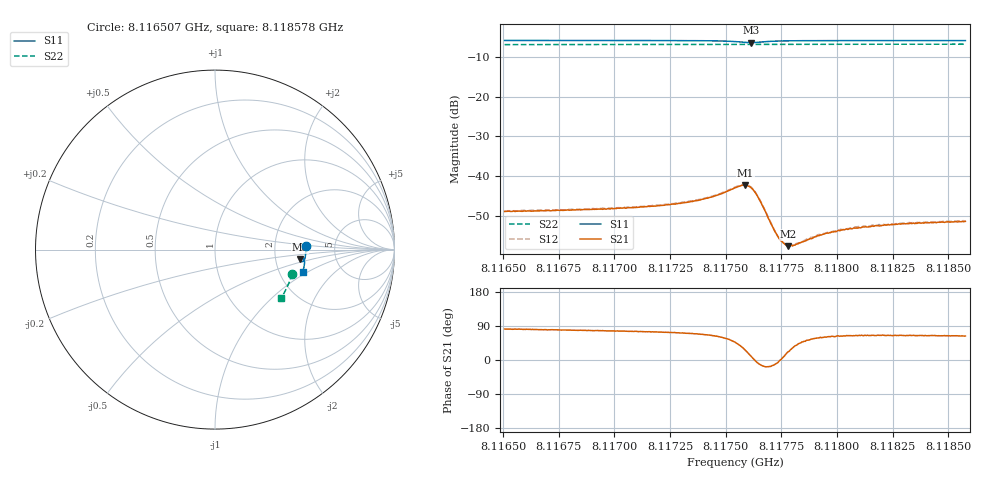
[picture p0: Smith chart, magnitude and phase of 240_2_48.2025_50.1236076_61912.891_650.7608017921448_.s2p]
#  HZ  S  RI  R  50.00
! Rohde & Schwarz Vector Network Analyzer
! Rohde-Schwarz,ZNB20-2Port,1311601062101988,3.16
! Created: UTC 3/20/2024, 11:46:49 AM
! freq[Hz]  re:S11  im:S11  re:S21  im:S21  re:S12  im:S12  re:S22  im:S22
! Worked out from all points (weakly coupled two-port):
!   401 points, 8.116507 GHz to 8.118578 GHz, reference 50 ohm
!   highest |S21| = -42.25 dB at 8.117589 GHz (marker M1); lowest = -57.6 dB at 8.11778 GHz (marker M2)
!   lowest |S11| = -6.4 dB at 8.117615 GHz (marker M3), VSWR 2.82, Z = 138 - j19.5 ohm
!   |S11| at or under -10 dB: nowhere
!   |S22| runs from -6.9 to -6.8 dB; largest |S21 - S12| = 0.0002
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8.1165067e9  0.5064 0.0205  0.000518 0.00357  0.000559 0.00361  0.4285 -0.1361
8.1168536e9  0.5064 -0.00598  0.000774 0.00371  0.000829 0.00375  0.4215 -0.1593
8.1172004e9  0.5042 -0.0337  0.00118 0.0041  0.00122 0.00415  0.4132 -0.182
8.1173817e9  0.5009 -0.0501  0.00185 0.00466  0.00194 0.00474  0.4083 -0.194
8.1174645e9  0.4968 -0.0589  0.00272 0.00513  0.00282 0.0052  0.4058 -0.1992
8.1175421e9  0.4865 -0.0666  0.00489 0.00525  0.005 0.0053  0.4031 -0.2041
8.1175887e9  0.4753 -0.0629  0.00695 0.00335  0.00714 0.00331  0.4014 -0.2064
8.1176146e9  0.473 -0.0549  0.00706 0.00117  0.00722 0.00112  0.4006 -0.2078
8.1176302e9  0.475 -0.05  0.0064 -3.52e-05  0.00651 -0.000123  0.4003 -0.2085
8.1176509e9  0.4805 -0.0465  0.00503 -0.000957  0.00515 -0.000987  0.4 -0.2097
8.117713e9  0.4934 -0.0508  0.00219 -0.000557  0.00223 -0.000581  0.3988 -0.2138
8.1177337e9  0.4955 -0.0537  0.00175 -0.000222  0.00174 -0.000243  0.3984 -0.2151
8.1177492e9  0.4966 -0.0557  0.00154 3.95e-05  0.0016 3.03e-05  0.3979 -0.2161
8.1177648e9  0.4973 -0.0578  0.00139 0.000267  0.00138 0.000304  0.3974 -0.2171
8.1177803e9  0.4978 -0.0598  0.00123 0.000483  0.00128 0.000476  0.3968 -0.2185
8.1178062e9  0.4985 -0.0629  0.00112 0.000774  0.00111 0.000791  0.3961 -0.2199
8.117889e9  0.4987 -0.0717  0.000939 0.00136  0.000959 0.00137  0.3936 -0.2251
8.117946e9  0.4985 -0.077  0.000933 0.00165  0.000947 0.00165  0.3918 -0.2289
8.118034e9  0.4975 -0.0848  0.000941 0.0019  0.000968 0.00194  0.3887 -0.2341
8.1180909e9  0.4969 -0.0894  0.000966 0.00201  0.001 0.00206  0.3868 -0.2377
8.1182359e9  0.4947 -0.1009  0.00104 0.00221  0.00107 0.00228  0.3817 -0.2465
8.1185776e9  0.4887 -0.1265  0.00121 0.00242  0.00128 0.00243  0.3691 -0.2669
